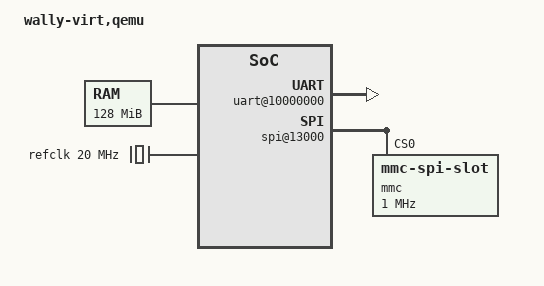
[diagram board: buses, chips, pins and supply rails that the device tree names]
/dts-v1/;

/ {
  #address-cells = <0x02>;
  #size-cells = <0x02>;
  compatible = "wally-virt";
  model = "wally-virt,qemu";

  chosen {
    linux,initrd-end = <0x85c43a00>;
    linux,initrd-start = <0x84200000>;
    bootargs = "root=/dev/vda ro  console=ttyS0,115200 loglevel=7";
    stdout-path = "/soc/uart@10000000";
  };

  memory@80000000 {
    device_type = "memory";
    reg = <0x00 0x80000000 0x00 0x8000000>;
  };

  cpus {
    #address-cells = <0x01>;
    #size-cells = <0x00>;
    clock-frequency = <20000000>;
    timebase-frequency = <20000000>;

    cpu@0 {
      phandle = <0x01>;
      device_type = "cpu";
      reg = <0x00>;
      status = "okay";
      compatible = "riscv";
      riscv,isa-base = "rv64i";
      riscv,isa-extensions = "i", "m", "a", "f", "d", "c", "sstc", "svade", "svadu", "svinval", "svnapot", "svpbmt", "zba", "zbb", "zbc", "zbs", "zca", "zcb", "zcd", "zfa", "zfh", "zkn", "zkt", "zicbom", "zicboz", "zicntr", "zicond", "zicsr", "zifencei", "zihpm";
      riscv,cboz-block-size = <64>;
      riscv,cbom-block-size = <64>;
      mmu-type = "riscv,sv48";

      interrupt-controller {
        #interrupt-cells = <0x01>;
        interrupt-controller;
        compatible = "riscv,cpu-intc";
        phandle = <0x02>;
      };
    };
  };

  soc {
    #address-cells = <0x02>;
    #size-cells = <0x02>;
    compatible = "simple-bus";
    ranges;

    refclk: refclk {
      #clock-cells = <0>;
      compatible = "fixed-clock";
      clock-frequency = <20000000>;
      clock-output-names = "xtal";
    };

    gpio0: gpio@10060000 {
      compatible = "sifive,gpio0";
      interrupt-parent = <0x03>;
      interrupts = <3>;
      reg = <0x00 0x10060000 0x00 0x1000>;
      reg-names = "control";
      gpio-controller;
      #gpio-cells = <2>;
      interrupt-controller;
      #interrupt-cells = <2>;
    };

    uart@10000000 {
      interrupts = <0x0a>;
      interrupt-parent = <0x03>;
      clock-frequency = <20000000>;
      reg = <0x00 0x10000000 0x00 0x100>;
      compatible = "ns16550a";
    };

    plic@c000000 {
      phandle = <0x03>;
      riscv,ndev = <0x35>;
      reg = <0x00 0xc000000 0x00 0x210000>;
      interrupts-extended = <0x02 0x0b 0x02 0x09>;
      interrupt-controller;
      compatible = "sifive,plic-1.0.0\0riscv,plic0";
      #interrupt-cells = <0x01>;
      #address-cells = <0x00>;
    };

    spi@13000 {
      compatible = "sifive,spi0";
      interrupt-parent = <0x03>;
      interrupts = <0x14>;
      reg = <0x0 0x13000 0x0 0x1000>;
      reg-names = "control";
      clocks = <&refclk>;

      #address-cells = <1>;
      #size-cells = <0>;
      mmc@0 {
        compatible = "mmc-spi-slot";
        reg = <0>;
        spi-max-frequency = <1000000>;
        voltage-ranges = <3300 3300>;
        disable-wp;
        // gpios = <&gpio0 6 1>;
      };
    };

    clint@2000000 {
      interrupts-extended = <0x02 0x03 0x02 0x07>;
      reg = <0x00 0x2000000 0x00 0x10000>;
      compatible = "sifive,clint0\0riscv,clint0";
    };
  };
};
